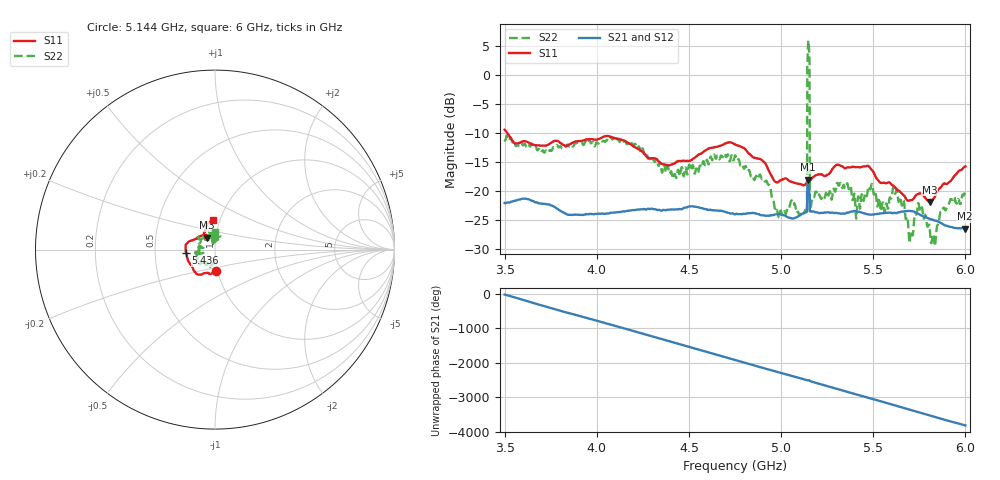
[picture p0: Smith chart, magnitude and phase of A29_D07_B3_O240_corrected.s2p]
! Created with skrf 1.9.0 (http://scikit-rf.org).
# Hz S RI R 50.0
!freq ReS11 ImS11 ReS21 ImS21 ReS12 ImS12 ReS22 ImS22
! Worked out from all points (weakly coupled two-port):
!   1601 points, 3.5 GHz to 6 GHz, reference 50 ohm
!   highest |S21| = -18.01 dB at 5.147 GHz (marker M1); lowest = -26.4 dB at 5.995 GHz (marker M2)
!   lowest |S11| = -21.9 dB at 5.806 GHz (marker M3), VSWR 1.18, Z = 45.2 + j5.97 ohm
!   |S11| at or under -10 dB: 3.516 GHz to end of sweep
!   |S22| runs from -29.5 to 6.0 dB; largest |S21 - S12| = 0.0012
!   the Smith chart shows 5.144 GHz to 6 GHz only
!   S11 on the Smith chart (normalised r, x): 5.144 GHz: 0.99, -0.24; 5.436 GHz: 0.72, -0.03; 6 GHz: 0.93, +0.31
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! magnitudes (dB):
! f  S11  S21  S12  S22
! 3.5 GHz  -9.4  -22.0  -22.0  -11.1
! 3.917 GHz  -11.3  -24.1  -24.1  -11.6
! 4.142 GHz  -11.2  -23.5  -23.5  -11.4
! 4.334 GHz  -14.8  -23.2  -23.2  -15.6
! 4.422 GHz  -15.2  -23.2  -23.1  -17.1
! 4.75 GHz  -11.9  -24.0  -23.9  -13.9
! 4.928 GHz  -16.1  -24.2  -24.2  -18.8
! 4.98 GHz  -18.5  -24.0  -24.0  -23.5
! 5.128 GHz  -18.9  -23.7  -23.7  -23.5
! 5.144 GHz  -18.5  -19.0  -19.0  3.1
! 5.147 GHz  -18.4  -18.0  -18.0  5.7
! 5.155 GHz  -18.3  -21.0  -20.9  1.9
! 5.167 GHz  -17.8  -23.5  -23.5  -21.5
! 5.436 GHz  -15.8  -23.7  -23.7  -20.6
! 5.484 GHz  -16.0  -24.1  -24.0  -19.6
! 5.584 GHz  -18.5  -23.7  -23.7  -22.1
! 5.62 GHz  -19.4  -23.8  -23.8  -20.4
! 5.705 GHz  -21.5  -23.5  -23.4  -27.0
! 5.753 GHz  -20.4  -24.1  -24.0  -23.3
! 5.806 GHz  -21.9  -24.8  -24.8  -26.3
! 5.995 GHz  -15.8  -26.4  -26.4  -20.5
! 6 GHz  -15.7  -26.4  -26.4  -20.0
